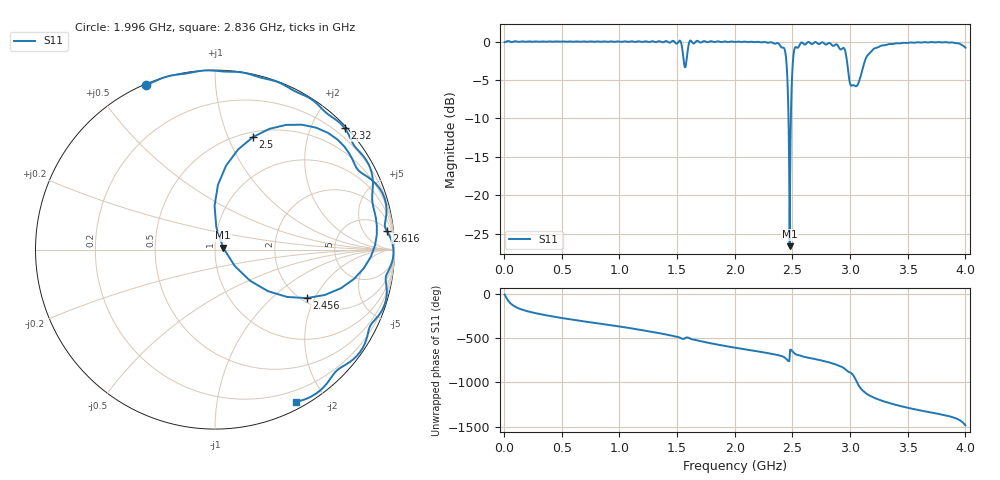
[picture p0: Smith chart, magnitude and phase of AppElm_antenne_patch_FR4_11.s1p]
! TOUCHSTONE file generated by CST MICROWAVE STUDIO
! Date and time: Tue Jun 14 13:15:19 2022
! Project name: AppElm_antenne_patch_FR4.cst
! Parameters = {L=45; W=58.5; e=0.035; h=1.6; lambda=0.190476; ls=120; w0=2.54; w1=0.847; ws=120; y0=22.5; y1=23.8}
! Header version: 2018
! Port assignment regex: !\s*Touchstone port\s*([0-9]+)\s*=\s*(CST MWS port|CST DS port)\s*([0-9]+|Zmin|Zmax)\s*\(\"(.*)\"\)(\s*mode\s*([0-9]+))?.*
! Touchstone port assignment:
! Touchstone port 1 = CST MWS port 1 ("")
# GHz S MA R 50
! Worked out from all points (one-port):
!   1000 points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, 4 MHz to 4 GHz, reference 50 ohm
!   lowest |S11| = -26.6 dB at 2.476 GHz (marker M1), VSWR 1.10, Z = 54.8 + j1.11 ohm
!   |S11| at or under -10 dB: 2.466 GHz to 2.487 GHz (20.79 MHz wide, 0.839 % of centre)
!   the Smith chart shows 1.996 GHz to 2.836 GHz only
!   S11 on the Smith chart (normalised r, x): 1.996 GHz: 0.00, +0.67; 2.32 GHz: 0.04, +2.53; 2.456 GHz: 2.13, -1.73; 2.5 GHz: 0.55, +1.23; 2.616 GHz: 6, +16; 2.836 GHz: 0.08, -1.66
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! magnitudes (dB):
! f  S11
! 4 MHz  -0.1
! 504 MHz  0.0
! 1.004 GHz  0.0
! 1.504 GHz  -0.2
! 1.568 GHz  -3.4
! 1.62 GHz  0.1
! 1.996 GHz  0.0
! 2.004 GHz  0.0
! 2.32 GHz  -0.1
! 2.428 GHz  -0.9
! 2.444 GHz  -2.0
! 2.456 GHz  -4.8
! 2.464 GHz  -8.5
! 2.476 GHz  -26.6
! 2.492 GHz  -6.5
! 2.5 GHz  -3.6
! 2.504 GHz  -2.7
! 2.516 GHz  -1.1
! 2.528 GHz  -0.7
! 2.616 GHz  -0.3
! 2.836 GHz  -0.4
! 2.948 GHz  -0.9
! 3.004 GHz  -5.6
! 3.064 GHz  -5.7
! 3.14 GHz  -2.1
! 3.208 GHz  -0.9
! 3.504 GHz  -0.2
! 4 GHz  -0.8
